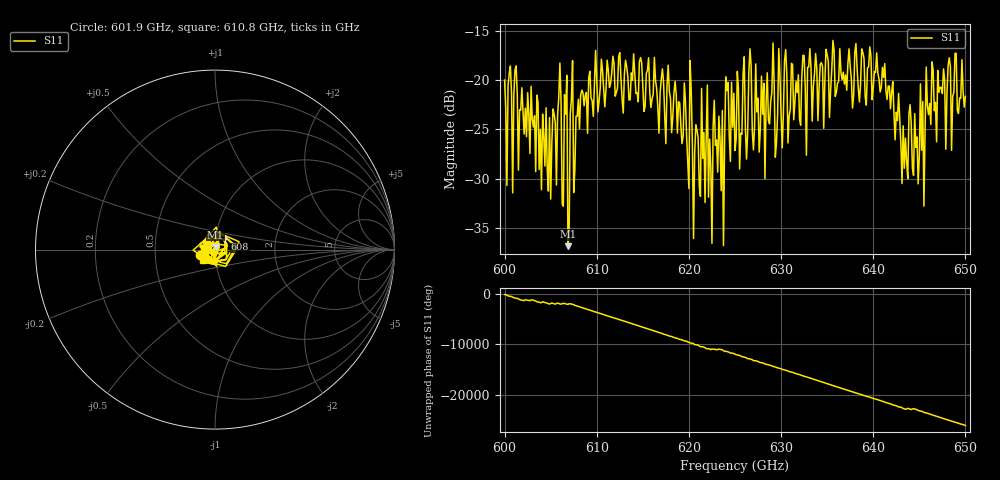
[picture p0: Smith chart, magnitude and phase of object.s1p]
!Created with skrf (http://scikit-rf.org).
# GHz S MA R 50.0
!freq magS11 angS11
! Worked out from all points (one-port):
!   401 points, 600 GHz to 650 GHz, reference 50 ohm
!   lowest |S11| = -36.9 dB at 606.9 GHz (marker M1), VSWR 1.03, Z = 50.3 + j1.41 ohm
!   |S11| at or under -10 dB: start of sweep to end of sweep
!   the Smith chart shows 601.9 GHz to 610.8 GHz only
!   S11 on the Smith chart (normalised r, x): 601.9 GHz: 0.84, -0.05; 608 GHz: 1.11, +0.13; 610.8 GHz: 0.86, -0.10
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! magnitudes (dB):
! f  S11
! 600 GHz  -20.0
! 601.9 GHz  -20.8
! 604.9 GHz  -23.8
! 605.9 GHz  -21.8
! 606.2 GHz  -32.6
! 606.9 GHz  -36.9
! 608 GHz  -22.0
! 610.8 GHz  -20.8
! 612.5 GHz  -17.2
! 618.8 GHz  -25.4
! 620.6 GHz  -27.4
! 622.1 GHz  -31.9
! 622.4 GHz  -28.8
! 623 GHz  -26.1
! 623.6 GHz  -23.1
! 624.1 GHz  -21.1
! 625 GHz  -27.2
! 626.6 GHz  -16.8
! 628.5 GHz  -19.3
! 629 GHz  -21.3
! 631.2 GHz  -18.5
! 637.5 GHz  -18.6
! 641.1 GHz  -19.7
! 643.4 GHz  -29.0
! 643.8 GHz  -30.0
! 644.6 GHz  -26.8
! 647.5 GHz  -21.4
! 650 GHz  -21.7
